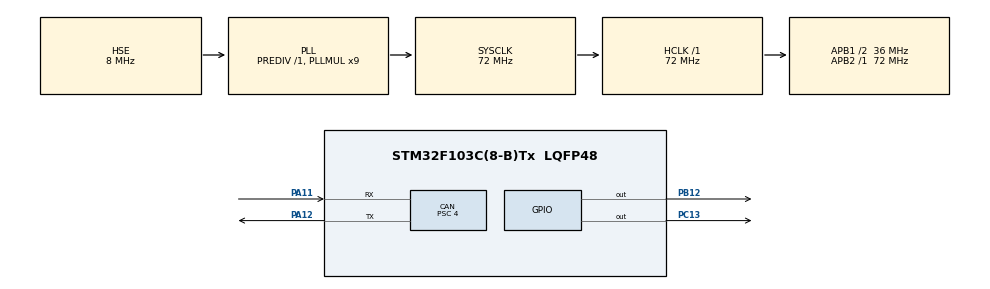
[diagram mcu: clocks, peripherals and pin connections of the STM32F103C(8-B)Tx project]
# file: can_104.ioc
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CAN.ABOM=ENABLE
CAN.AWUM=ENABLE
CAN.BS1=CAN_BS1_15TQ
CAN.BS2=CAN_BS2_2TQ
CAN.CalculateBaudRate=500000
CAN.CalculateTimeBit=2000
CAN.CalculateTimeQuantum=111.11111111111111
CAN.Prescaler=4
Mcu.Family=STM32F1
Mcu.Name=STM32F103C(8-B)Tx
Mcu.Package=LQFP48
NVIC.PriorityGroup=NVIC_PRIORITYGROUP_4
NVIC.USB_LP_CAN1_RX0_IRQn=true\:0\:0\:false\:false\:true\:true\:true\:true
PA11.Mode=CAN_Activate
PA11.Signal=CAN_RX
PA12.Mode=CAN_Activate
PA12.Signal=CAN_TX
PA13.Mode=Serial_Wire
PA13.Signal=SYS_JTMS-SWDIO
PA14.Mode=Serial_Wire
PA14.Signal=SYS_JTCK-SWCLK
PB12.Signal=GPIO_Output
PC13-TAMPER-RTC.Signal=GPIO_Output
PD0-OSC_IN.Mode=HSE-External-Oscillator
PD0-OSC_IN.Signal=RCC_OSC_IN
PD1-OSC_OUT.Mode=HSE-External-Oscillator
PD1-OSC_OUT.Signal=RCC_OSC_OUT
ProjectManager.HeapSize=0x200
ProjectManager.StackSize=0x400
ProjectManager.TargetToolchain=STM32CubeIDE
RCC.AHBFreq_Value=72000000
RCC.APB1CLKDivider=RCC_HCLK_DIV2
RCC.APB1Freq_Value=36000000
RCC.APB1TimFreq_Value=72000000
RCC.APB2Freq_Value=72000000
RCC.APB2TimFreq_Value=72000000
RCC.HCLKFreq_Value=72000000
RCC.PLLMUL=RCC_PLL_MUL9
RCC.PLLSourceVirtual=RCC_PLLSOURCE_HSE
RCC.SYSCLKFreq_VALUE=72000000
RCC.SYSCLKSource=RCC_SYSCLKSOURCE_PLLCLK
RCC.USBFreq_Value=72000000
board=custom

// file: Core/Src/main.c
/* USER CODE BEGIN Header */
/**
  ******************************************************************************
  * @file           : main.c
  * @brief          : Main program body
  ******************************************************************************
  * @attention
  *
  * Copyright (c) 2023 STMicroelectronics.
  * All rights reserved.
  *
  * This software is licensed under terms that can be found in the LICENSE file
  * in the root directory of this software component.
  * If no LICENSE file comes with this software, it is provided AS-IS.
  *
  ******************************************************************************
  */
/* USER CODE END Header */
#include "main.h"

CAN_HandleTypeDef hcan;

void SystemClock_Config(void);
static void MX_GPIO_Init(void);
static void MX_CAN_Init(void);
/* USER CODE BEGIN PFP */
CAN_TxHeaderTypeDef   TxHeader;
CAN_RxHeaderTypeDef   RxHeader;
CAN_FilterTypeDef  		sFilterConfig;

uint8_t TxData[8] = {0, 1, 2, 3, 4, 5, 6, 7};
uint8_t RxData[8];

uint32_t TxMailbox;
void CanTx_Init(void){
	//================can tx===================//
	TxHeader.StdId = 0x104;//dia chi cua can
	TxHeader.RTR = CAN_RTR_DATA;
	TxHeader.IDE = CAN_ID_STD;
	TxHeader.DLC = 8;	//so byte truyen di
	TxHeader.TransmitGlobalTime = DISABLE;
	HAL_CAN_Start(&hcan);
}
void CanRx_Init()
{
	//=================can filter==============//
	/* -------------------------------- id 0X104 ----------------------------------*/
	sFilterConfig.FilterBank = 0;
	sFilterConfig.FilterMode = CAN_FILTERMODE_IDMASK;
	sFilterConfig.FilterScale = CAN_FILTERSCALE_32BIT;
	sFilterConfig.FilterIdHigh = 0x446<<5;     // chỉ nhận dữ liệu từ node 0x446
	sFilterConfig.FilterIdLow = 0;
	sFilterConfig.FilterMaskIdHigh = 0x7ff<<5;
	sFilterConfig.FilterMaskIdLow = 0;
	sFilterConfig.FilterFIFOAssignment = CAN_RX_FIFO0;
	sFilterConfig.FilterActivation = ENABLE;
	HAL_CAN_ConfigFilter(&hcan, &sFilterConfig);
	//==================cho phep can hoat dong=================//
	HAL_CAN_Start(&hcan);
	//==================kich hoat ngat can=====================//
	HAL_CAN_ActivateNotification(&hcan,CAN_IT_RX_FIFO0_MSG_PENDING);
}
/* USER CODE END PFP */

int main(void)
{

  /* MCU Configuration--------------------------------------------------------*/

  /* Reset of all peripherals, Initializes the Flash interface and the Systick. */
  HAL_Init();

  /* Configure the system clock */
  SystemClock_Config();

  /* Initialize all configured peripherals */
  MX_GPIO_Init();
  MX_CAN_Init();
  /* USER CODE BEGIN 2 */
  CanTx_Init();
  CanRx_Init();
  /* USER CODE END 2 */

  /* Infinite loop */
  /* USER CODE BEGIN WHILE */
  while (1)
  {
	  HAL_CAN_AddTxMessage(&hcan, &TxHeader, TxData, &TxMailbox); //
	  HAL_Delay(100);
    /* USER CODE END WHILE */

  }
}

void SystemClock_Config(void)
{
  RCC_OscInitTypeDef RCC_OscInitStruct = {0};
  RCC_ClkInitTypeDef RCC_ClkInitStruct = {0};

  /** Initializes the RCC Oscillators according to the specified parameters
  * in the RCC_OscInitTypeDef structure.
  */
  RCC_OscInitStruct.OscillatorType = RCC_OSCILLATORTYPE_HSE;
  RCC_OscInitStruct.HSEState = RCC_HSE_ON;
  RCC_OscInitStruct.HSEPredivValue = RCC_HSE_PREDIV_DIV1;
  RCC_OscInitStruct.HSIState = RCC_HSI_ON;
  RCC_OscInitStruct.PLL.PLLState = RCC_PLL_ON;
  RCC_OscInitStruct.PLL.PLLSource = RCC_PLLSOURCE_HSE;
  RCC_OscInitStruct.PLL.PLLMUL = RCC_PLL_MUL9;
  if (HAL_RCC_OscConfig(&RCC_OscInitStruct) != HAL_OK)
  {
    Error_Handler();
  }

  /** Initializes the CPU, AHB and APB buses clocks
  */
  RCC_ClkInitStruct.ClockType = RCC_CLOCKTYPE_HCLK|RCC_CLOCKTYPE_SYSCLK
                              |RCC_CLOCKTYPE_PCLK1|RCC_CLOCKTYPE_PCLK2;
  RCC_ClkInitStruct.SYSCLKSource = RCC_SYSCLKSOURCE_PLLCLK;
  RCC_ClkInitStruct.AHBCLKDivider = RCC_SYSCLK_DIV1;
  RCC_ClkInitStruct.APB1CLKDivider = RCC_HCLK_DIV2;
  RCC_ClkInitStruct.APB2CLKDivider = RCC_HCLK_DIV1;

  if (HAL_RCC_ClockConfig(&RCC_ClkInitStruct, FLASH_LATENCY_2) != HAL_OK)
  {
    Error_Handler();
  }
}

static void MX_CAN_Init(void)
{

  hcan.Instance = CAN1;
  hcan.Init.Prescaler = 4;
  hcan.Init.Mode = CAN_MODE_NORMAL;
  hcan.Init.SyncJumpWidth = CAN_SJW_1TQ;
  hcan.Init.TimeSeg1 = CAN_BS1_15TQ;
  hcan.Init.TimeSeg2 = CAN_BS2_2TQ;
  hcan.Init.TimeTriggeredMode = DISABLE;
  hcan.Init.AutoBusOff = ENABLE;
  hcan.Init.AutoWakeUp = ENABLE;
  hcan.Init.AutoRetransmission = DISABLE;
  hcan.Init.ReceiveFifoLocked = DISABLE;
  hcan.Init.TransmitFifoPriority = DISABLE;
  if (HAL_CAN_Init(&hcan) != HAL_OK)
  {
    Error_Handler();
  }

}

static void MX_GPIO_Init(void)
{
  GPIO_InitTypeDef GPIO_InitStruct = {0};

  /* GPIO Ports Clock Enable */
  __HAL_RCC_GPIOC_CLK_ENABLE();
  __HAL_RCC_GPIOD_CLK_ENABLE();
  __HAL_RCC_GPIOB_CLK_ENABLE();
  __HAL_RCC_GPIOA_CLK_ENABLE();

  /*Configure GPIO pin Output Level */
  HAL_GPIO_WritePin(GPIOC, GPIO_PIN_13, GPIO_PIN_RESET);

  /*Configure GPIO pin Output Level */
  HAL_GPIO_WritePin(GPIOB, GPIO_PIN_12, GPIO_PIN_RESET);

  /*Configure GPIO pin : PC13 */
  GPIO_InitStruct.Pin = GPIO_PIN_13;
  GPIO_InitStruct.Mode = GPIO_MODE_OUTPUT_PP;
  GPIO_InitStruct.Pull = GPIO_NOPULL;
  GPIO_InitStruct.Speed = GPIO_SPEED_FREQ_LOW;
  HAL_GPIO_Init(GPIOC, &GPIO_InitStruct);

  /*Configure GPIO pin : PB12 */
  GPIO_InitStruct.Pin = GPIO_PIN_12;
  GPIO_InitStruct.Mode = GPIO_MODE_OUTPUT_PP;
  GPIO_InitStruct.Pull = GPIO_NOPULL;
  GPIO_InitStruct.Speed = GPIO_SPEED_FREQ_LOW;
  HAL_GPIO_Init(GPIOB, &GPIO_InitStruct);

}

void Error_Handler(void)
{
  __disable_irq();
  while (1)
  {
  }
}
